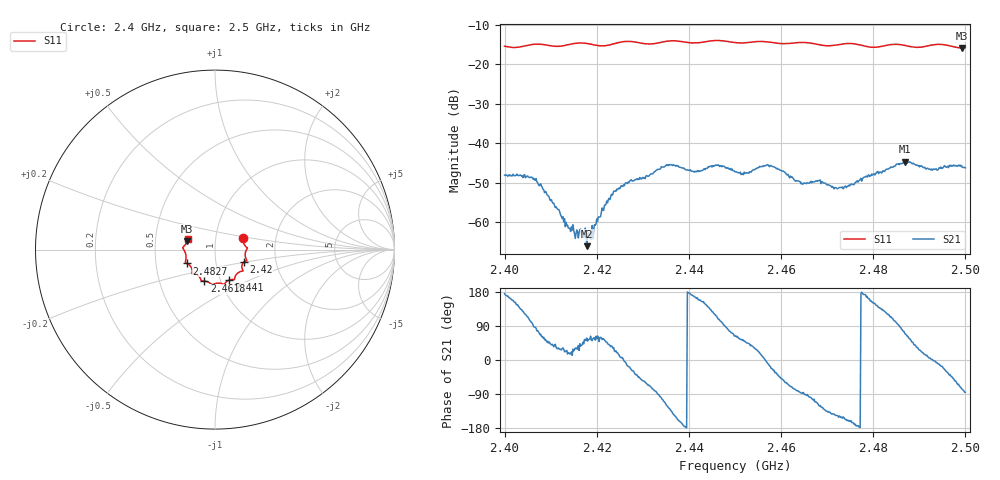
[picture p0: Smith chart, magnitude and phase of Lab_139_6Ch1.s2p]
# Hz S RI R 50
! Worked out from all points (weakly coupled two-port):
!   601 points, 2.4 GHz to 2.5 GHz, reference 50 ohm
!   highest |S21| = -44.64 dB at 2.4868 GHz (marker M1); lowest = -66.1 dB at 2.4178 GHz (marker M2)
!   lowest |S11| = -15.8 dB at 2.4992 GHz (marker M3), VSWR 1.39, Z = 36.4 + j3.65 ohm
!   |S11| at or under -10 dB: start of sweep to end of sweep
!   S12 and S22 are empty: the file has one direction only
!   S11 on the Smith chart (normalised r, x): 2.4 GHz: 1.36, +0.18; 2.42 GHz: 1.36, -0.20; 2.441 GHz: 1.10, -0.39; 2.4618 GHz: 0.84, -0.30; 2.4827 GHz: 0.72, -0.11; 2.5 GHz: 0.73, +0.09
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2.4e9  0.1584 0.0629  -0.00392 0.000321  0 0  0 0
2.406333e9  0.1801 0.0101  0.00015 0.00359  0 0  0 0
2.413667e9  0.1712 -0.0461  0.000876 0.000247  0 0  0 0
2.416667e9  0.1772 -0.0609  0.000557 0.000446  0 0  0 0
2.417833e9  0.1739 -0.0625  0.000262 0.000418  0 0  0 0
2.418833e9  0.168 -0.0649  0.000368 0.000476  0 0  0 0
2.42e9  0.1598 -0.0703  0.000619 0.000905  0 0  0 0
2.424167e9  0.1517 -0.1079  0.00224 0.00101  0 0  0 0
2.433333e9  0.1115 -0.1508  -9.39e-05 -0.00466  0 0  0 0
2.436167e9  0.1087 -0.1669  -0.00378 -0.00379  0 0  0 0
2.441e9  0.0788 -0.1697  -0.00429 0.000822  0 0  0 0
2.446e9  0.0498 -0.1951  -0.00229 0.00472  0 0  0 0
2.45e9  0.0284 -0.1874  0.00197 0.00386  0 0  0 0
2.457333e9  -0.0213 -0.1918  0.00503 -0.00106  0 0  0 0
2.461833e9  -0.0593 -0.1754  0.00136 -0.00338  0 0  0 0
2.466667e9  -0.0787 -0.1681  -0.00065 -0.00308  0 0  0 0
2.473667e9  -0.124 -0.1346  -0.00245 -0.00128  0 0  0 0
2.482667e9  -0.1558 -0.0771  -0.00269 0.00371  0 0  0 0
2.483333e9  -0.1601 -0.0751  -0.00239 0.00409  0 0  0 0
2.486833e9  -0.1635 -0.0612  0.00197 0.00552  0 0  0 0
2.499167e9  -0.1548 0.0487  0.00125 -0.00505  0 0  0 0
2.5e9  -0.1521 0.0604  0.000378 -0.00485  0 0  0 0
